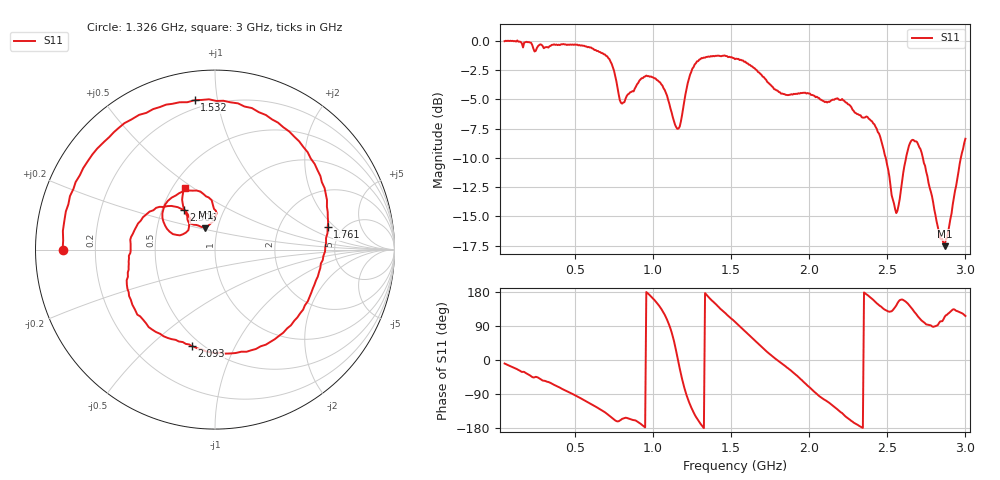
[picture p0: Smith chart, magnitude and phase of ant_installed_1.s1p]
! nanovna_capture.py 2026-11-02T23:11:12+0900
! NanoVNA-F_V2 fw 0.6.0 SN 4A3639384505514B
! cal: load open short cal'ed  over 50000000-3000000000 Hz, 201 points
! points 401, avg 4
! implant antenna (AC-A2016-NANO-V1.1) via its own coax + MHF4 plug, unplugged from the modem, onto MHF4-SMA adapter; installed in the Nano X with battery and board, on a non-metal surface, hands away
# HZ S RI R 50
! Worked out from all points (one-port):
!   401 points, 50 MHz to 3 GHz, reference 50 ohm
!   lowest |S11| = -17.5 dB at 2.867 GHz (marker M1), VSWR 1.31, Z = 43.7 + j10.8 ohm
!   |S11| at or under -10 dB: 2.49 GHz to 2.62 GHz (130.1 MHz wide, 5.09 % of centre); 2.728 GHz to 2.971 GHz (243.1 MHz wide, 8.53 % of centre)
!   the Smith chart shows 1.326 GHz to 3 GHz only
!   S11 on the Smith chart (normalised r, x): 1.326 GHz: 0.08, -0.00; 1.532 GHz: 0.15, +0.86; 1.761 GHz: 3.83, +1.61; 2.093 GHz: 0.44, -0.69; 2.506 GHz: 0.65, +0.31; 3 GHz: 0.58, +0.46
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5e7  0.9844 -0.1608
4.1875e8  0.2267 -0.9402
5.58875e8  -0.2603 -0.9174
7.06375e8  -0.6809 -0.5247
7.875e8  -0.5243 -0.1925
8.98125e8  -0.621 -0.2016
1.00875e9  -0.6443 0.2526
1.09725e9  -0.0884 0.5522
1.15625e9  0.4174 0.0544
1.2005e9  0.1603 -0.5295
1.23e9  -0.2391 -0.6453
1.27425e9  -0.6918 -0.4066
1.325875e9  -0.8493 -0.00178
1.429125e9  -0.6185 0.6
1.525e9  -0.1544 0.8211
1.532375e9  -0.1133 0.8324
1.65775e9  0.4921 0.572
1.761e9  0.6277 0.1242
1.89375e9  0.5004 -0.3114
1.989625e9  0.2275 -0.5539
2.092875e9  -0.1301 -0.5374
2.2625e9  -0.491 -0.1962
2.505875e9  -0.1741 0.2211
2.564875e9  -0.1622 0.0947
2.63125e9  -0.2928 0.1758
2.705e9  -0.124 0.3284
2.86725e9  -0.0536 0.1213
3e9  -0.1686 0.3427
